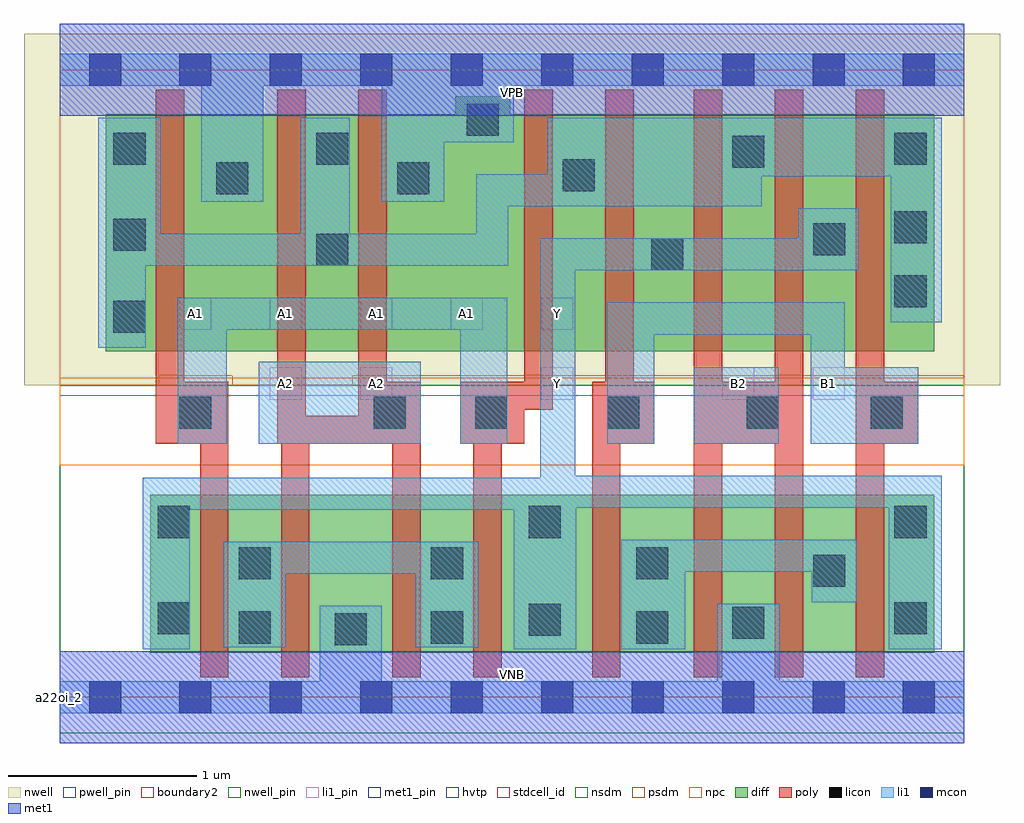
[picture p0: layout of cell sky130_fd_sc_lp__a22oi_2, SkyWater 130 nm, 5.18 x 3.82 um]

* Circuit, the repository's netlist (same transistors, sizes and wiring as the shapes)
* Copyright 2020 The SkyWater PDK Authors
*
* Licensed under the Apache License, Version 2.0 (the "License");
* you may not use this file except in compliance with the License.
* You may obtain a copy of the License at
*
*     https://www.apache.org/licenses/LICENSE-2.0
*
* Unless required by applicable law or agreed to in writing, software
* distributed under the License is distributed on an "AS IS" BASIS,
* WITHOUT WARRANTIES OR CONDITIONS OF ANY KIND, either express or implied.
* See the License for the specific language governing permissions and
* limitations under the License.
*
* SPDX-License-Identifier: Apache-2.0

.SUBCKT sky130_fd_sc_lp__a22oi_2 A1 A2 B1 B2 VGND VNB VPB VPWR Y
*.PININFO A1:I A2:I B1:I B2:I VGND:I VNB:I VPB:I VPWR:I Y:O
MMPA0 pndA A1 VPWR VPB sky130_fd_pr__pfet_01v8_hvt m=2 w=1.26U l=0.15U mult=1 sa=0.265
+ sb=0.265 sd=0.28 area=0.063 perim=1.14
MMPA1 pndA A2 VPWR VPB sky130_fd_pr__pfet_01v8_hvt m=2 w=1.26U l=0.15U mult=1 sa=0.265
+ sb=0.265 sd=0.28 area=0.063 perim=1.14
MMPB0 Y B1 pndA VPB sky130_fd_pr__pfet_01v8_hvt m=2 w=1.26U l=0.15U mult=1 sa=0.265
+ sb=0.265 sd=0.28 area=0.063 perim=1.14
MMPB1 Y B2 pndA VPB sky130_fd_pr__pfet_01v8_hvt m=2 w=1.26U l=0.15U mult=1 sa=0.265
+ sb=0.265 sd=0.28 area=0.063 perim=1.14
MMNA0 Y A1 sndA1 VNB sky130_fd_pr__nfet_01v8 m=2 w=0.84U l=0.15U mult=1 sa=0.265
+ sb=0.265 sd=0.28 area=0.063 perim=1.14
MMNA1 sndA1 A2 VGND VNB sky130_fd_pr__nfet_01v8 m=2 w=0.84U l=0.15U mult=1 sa=0.265
+ sb=0.265 sd=0.28 area=0.063 perim=1.14
MMNB0 Y B1 sndB1 VNB sky130_fd_pr__nfet_01v8 m=2 w=0.84U l=0.15U mult=1 sa=0.265
+ sb=0.265 sd=0.28 area=0.063 perim=1.14
MMNB1 sndB1 B2 VGND VNB sky130_fd_pr__nfet_01v8 m=2 w=0.84U l=0.15U mult=1 sa=0.265
+ sb=0.265 sd=0.28 area=0.063 perim=1.14
.ENDS sky130_fd_sc_lp__a22oi_2

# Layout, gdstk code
import gdstk
lib = gdstk.Library(unit=1e-6, precision=1e-09)
def R(c, l, rs):  # rectangles x0, y0, x1, y1
    for r in rs: c.add(gdstk.rectangle(r[:2], r[2:], *l))
def A(c, l, x, y, w, h, nx, ny, dx, dy):  # array of equal rectangles
    R(c, l, [(x+i*dx, y+j*dy, x+i*dx+w, y+j*dy+h) for i in range(nx) for j in range(ny)])
def P(c, l, *ps):  # polygons
    for p in ps: c.add(gdstk.Polygon(p, *l))
nwell_pin = (64, 16)
nwell = (64, 20)
diff = (65, 20)
poly = (66, 20)
licon = (66, 44)
li1_pin = (67, 16)
li1 = (67, 20)
mcon = (67, 44)
met1_pin = (68, 16)
met1 = (68, 20)
hvtp = (78, 44)
stdcell_id = (81, 4)
nsdm = (93, 44)
psdm = (94, 20)
npc = (95, 20)
pwell_pin = (122, 16)
boundary2 = (236, 0)

sky130_fd_sc_lp__a22oi_2 = lib.new_cell('sky130_fd_sc_lp__a22oi_2')
R(sky130_fd_sc_lp__a22oi_2, nwell_pin, [(0,3.085,4.8,3.33)])
R(sky130_fd_sc_lp__a22oi_2, nwell, [(-0.19,1.655,4.99,3.52)])
R(sky130_fd_sc_lp__a22oi_2, diff, [(0.48,0.235,4.64,1.075)])
P(sky130_fd_sc_lp__a22oi_2, diff, [(4.64,3.095),(2.39,3.095),(2.39,3.19),(2.1,3.19),(2.1,3.095),(0.245,3.095),(0.245,1.835),(4.64,1.835)])
P(sky130_fd_sc_lp__a22oi_2, poly, [(0.895,1.675),(0.66,1.675),(0.66,3.225),(0.51,3.225),(0.51,1.345),(0.745,1.345),(0.745,0.105),(0.895,0.105)],
  [(1.915,1.675),(1.735,1.675),(1.735,3.225),(1.585,3.225),(1.585,1.495),(1.305,1.495),(1.305,3.225),(1.155,3.225),(1.155,1.345),(1.175,1.345),(1.175,0.105),(1.325,0.105),(1.325,1.345),(1.765,1.345),(1.765,0.105),(1.915,0.105)],
  [(2.615,3.225),(2.465,3.225),(2.465,1.675),(2.125,1.675),(2.125,1.345),(2.195,1.345),(2.195,0.105),(2.345,0.105),(2.345,1.345),(2.465,1.345),(2.465,1.525),(2.615,1.525)],
  [(3.155,1.675),(3.045,1.675),(3.045,3.225),(2.895,3.225),(2.895,1.675),(2.825,1.675),(2.825,0.105),(2.975,0.105),(2.975,1.345),(3.155,1.345)],
  [(3.945,3.225),(3.795,3.225),(3.795,1.675),(3.515,1.675),(3.515,3.225),(3.365,3.225),(3.365,0.105),(3.515,0.105),(3.515,1.345),(3.795,1.345),(3.795,0.105),(3.945,0.105)],
  [(4.555,1.675),(4.375,1.675),(4.375,3.225),(4.225,3.225),(4.225,0.105),(4.375,0.105),(4.375,1.345),(4.555,1.345)])
R(sky130_fd_sc_lp__a22oi_2, licon, [(1.46,0.275,1.63,0.445), (0.95,0.285,1.12,0.455), (1.97,0.285,2.14,0.455), (3.06,0.285,3.23,0.455), (3.57,0.31,3.74,0.48), (2.49,0.325,2.66,0.495), (0.52,0.335,0.69,0.505), (4.43,0.335,4.6,0.505), (4,0.585,4.17,0.755), (0.95,0.625,1.12,0.795), (1.97,0.625,2.14,0.795), (3.06,0.625,3.23,0.795), (0.52,0.845,0.69,1.015), (2.49,0.845,2.66,1.015), (4.43,0.845,4.6,1.015), (0.635,1.425,0.805,1.595), (1.665,1.425,1.835,1.595), (2.205,1.425,2.375,1.595), (2.905,1.425,3.075,1.595), (3.645,1.425,3.815,1.595), (4.305,1.425,4.475,1.595), (0.285,1.935,0.455,2.105), (4.43,2.07,4.6,2.24), (3.14,2.265,3.31,2.435), (1.36,2.29,1.53,2.46), (4,2.345,4.17,2.515), (0.285,2.37,0.455,2.54), (4.43,2.41,4.6,2.58), (0.83,2.67,1,2.84), (1.79,2.67,1.96,2.84), (2.67,2.685,2.84,2.855), (3.57,2.81,3.74,2.98), (0.285,2.825,0.455,2.995), (1.36,2.825,1.53,2.995), (4.43,2.825,4.6,2.995), (2.16,2.98,2.33,3.15)])
A(sky130_fd_sc_lp__a22oi_2, li1_pin, 1.595, 1.58, 0.17, 0.17, 3, 1, 0.96, 0)
A(sky130_fd_sc_lp__a22oi_2, li1_pin, 0.635, 1.95, 0.17, 0.17, 5, 1, 0.48, 0)
R(sky130_fd_sc_lp__a22oi_2, li1_pin, [(1.115,1.58,1.285,1.75), (3.995,1.58,4.165,1.75)])
R(sky130_fd_sc_lp__a22oi_2, li1, [(1.055,1.345,1.915,1.78), (3.365,1.345,3.815,1.75)])
P(sky130_fd_sc_lp__a22oi_2, li1, [(4.8,3.415),(0,3.415),(0,3.245),(0.75,3.245),(0.75,2.63),(1.08,2.63),(1.08,3.245),(1.71,3.245),(1.71,2.63),(2.04,2.63),(2.04,2.945),(2.41,2.945),(2.41,3.245),(4.8,3.245)],
  [(3.49,0.085),(3.49,0.495),(3.82,0.495),(3.82,0.085),(4.8,0.085),(4.8,-0.085),(0,-0.085),(0,0.085),(1.38,0.085),(1.38,0.485),(1.71,0.485),(1.71,0.085)],
  [(0.625,1.345),(0.625,2.12),(2.375,2.12),(2.375,1.345),(2.125,1.345),(2.125,1.95),(0.885,1.95),(0.885,1.345)],
  [(2.74,1.005),(2.74,0.255),(2.41,0.255),(2.41,0.995),(0.69,0.995),(0.69,0.255),(0.44,0.255),(0.44,1.165),(2.55,1.165),(2.55,2.435),(3.92,2.435),(3.92,2.595),(4.24,2.595),(4.24,2.265),(2.735,2.265),(2.735,1.175),(4.68,1.175),(4.68,0.255),(4.4,0.255),(4.4,1.005)],
  [(4.68,3.075),(2.59,3.075),(2.59,2.775),(2.21,2.775),(2.21,2.46),(1.54,2.46),(1.54,3.075),(1.28,3.075),(1.28,2.46),(0.535,2.46),(0.535,3.075),(0.205,3.075),(0.205,1.855),(0.455,1.855),(0.455,2.29),(2.38,2.29),(2.38,2.605),(3.725,2.605),(3.725,2.765),(4.41,2.765),(4.41,1.99),(4.68,1.99)],
  [(3.99,0.665),(3.32,0.665),(3.32,0.255),(2.98,0.255),(2.98,0.835),(4.23,0.835),(4.23,0.505),(3.99,0.505)],
  [(4.165,1.75),(4.555,1.75),(4.555,1.345),(3.985,1.345),(3.985,1.925),(3.155,1.925),(3.155,1.345),(2.905,1.345),(2.905,2.095),(4.165,2.095)],
  [(1.89,0.265),(1.89,0.655),(1.2,0.655),(1.2,0.265),(0.87,0.265),(0.87,0.825),(2.22,0.825),(2.22,0.265)])
A(sky130_fd_sc_lp__a22oi_2, mcon, 0.155, -0.085, 0.17, 0.17, 10, 2, 0.48, 3.33)
R(sky130_fd_sc_lp__a22oi_2, met1_pin, [(0,0,4.8,0.245), (0,3.085,4.8,3.33)])
R(sky130_fd_sc_lp__a22oi_2, met1, [(0,-0.245,4.8,0.245), (0,3.085,4.8,3.575)])
R(sky130_fd_sc_lp__a22oi_2, hvtp, [(0,1.6,4.8,3.33)])
R(sky130_fd_sc_lp__a22oi_2, stdcell_id, [(0,0,4.8,3.33)])
R(sky130_fd_sc_lp__a22oi_2, nsdm, [(0,-0.19,4.8,1.655)])
P(sky130_fd_sc_lp__a22oi_2, psdm, [(4.8,3.52),(0,3.52),(0,1.655),(0.525,1.655),(0.525,1.705),(0.915,1.705),(0.915,1.655),(1.555,1.655),(1.555,1.705),(4.8,1.705)])
R(sky130_fd_sc_lp__a22oi_2, npc, [(0,1.23,4.8,1.695)])
R(sky130_fd_sc_lp__a22oi_2, pwell_pin, [(0,0,4.8,0.245)])
R(sky130_fd_sc_lp__a22oi_2, boundary2, [(0,0,4.8,3.33)])
sky130_fd_sc_lp__a22oi_2.add(gdstk.Label('VNB', (2.4,0.123), layer=64, texttype=59))
sky130_fd_sc_lp__a22oi_2.add(gdstk.Label('VPB', (2.4,3.208), layer=64, texttype=5))
sky130_fd_sc_lp__a22oi_2.add(gdstk.Label('a22oi_2', (0,0), layer=83, texttype=44))
sky130_fd_sc_lp__a22oi_2.add(gdstk.Label('VPWR', (2.4,3.208), layer=68, texttype=5))
sky130_fd_sc_lp__a22oi_2.add(gdstk.Label('VGND', (2.4,0.123), layer=68, texttype=5))
sky130_fd_sc_lp__a22oi_2.add(gdstk.Label('A1', (0.72,2.035), layer=67, texttype=5))
sky130_fd_sc_lp__a22oi_2.add(gdstk.Label('A1', (1.2,2.035), layer=67, texttype=5))
sky130_fd_sc_lp__a22oi_2.add(gdstk.Label('A1', (1.68,2.035), layer=67, texttype=5))
sky130_fd_sc_lp__a22oi_2.add(gdstk.Label('A1', (2.16,2.035), layer=67, texttype=5))
sky130_fd_sc_lp__a22oi_2.add(gdstk.Label('A2', (1.2,1.665), layer=67, texttype=5))
sky130_fd_sc_lp__a22oi_2.add(gdstk.Label('A2', (1.68,1.665), layer=67, texttype=5))
sky130_fd_sc_lp__a22oi_2.add(gdstk.Label('B2', (3.6,1.665), layer=67, texttype=5))
sky130_fd_sc_lp__a22oi_2.add(gdstk.Label('B1', (4.08,1.665), layer=67, texttype=5))
sky130_fd_sc_lp__a22oi_2.add(gdstk.Label('Y', (2.64,1.665), layer=67, texttype=5))
sky130_fd_sc_lp__a22oi_2.add(gdstk.Label('Y', (2.64,2.035), layer=67, texttype=5))

lib.write_gds('sky130_fd_sc_lp__a22oi_2.gds')
